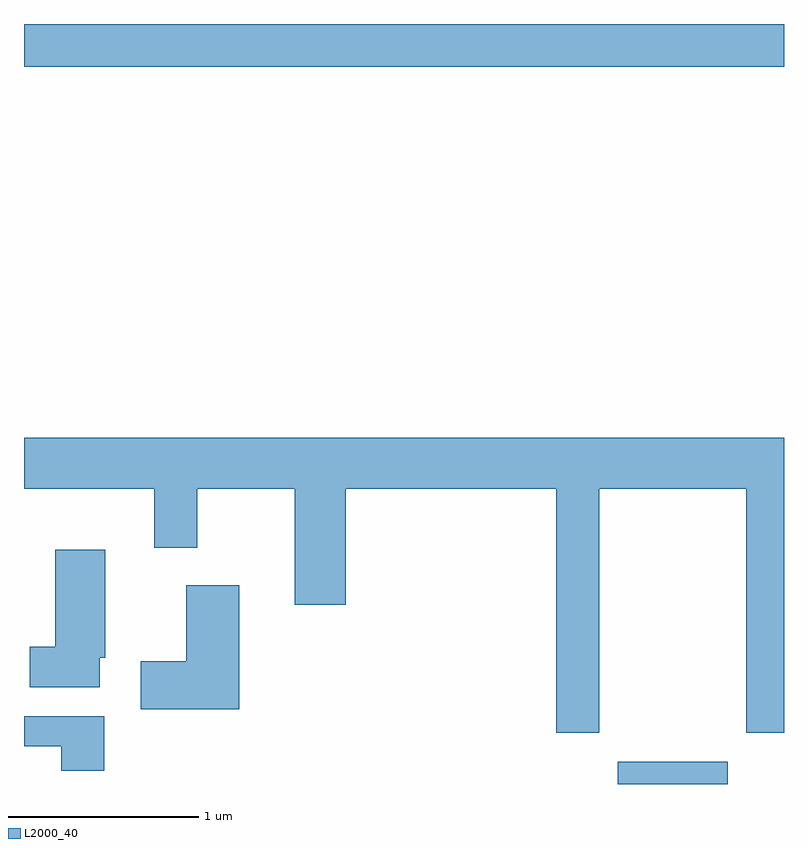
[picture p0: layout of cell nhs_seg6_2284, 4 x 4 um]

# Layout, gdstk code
import gdstk
lib = gdstk.Library(unit=1e-6, precision=1e-09)
def R(c, l, rs):  # rectangles x0, y0, x1, y1
    for r in rs: c.add(gdstk.rectangle(r[:2], r[2:], *l))
def P(c, l, *ps):  # polygons
    for p in ps: c.add(gdstk.Polygon(p, *l))
L2000_40 = (2000, 40)

nhs_seg6_2284 = lib.new_cell('nhs_seg6_2284')
R(nhs_seg6_2284, L2000_40, [(256.736,1646.162,257.314,1646.279), (253.611,1649.936,257.611,1650.162)])
P(nhs_seg6_2284, L2000_40, [(256.639,1647.716),(257.411,1647.716),(257.411,1646.431),(257.611,1646.431),(257.611,1647.984),(253.611,1647.984),(253.611,1647.716),(254.296,1647.716),(254.296,1647.406),(254.524,1647.406),(254.524,1647.716),(255.036,1647.716),(255.036,1647.106),(255.304,1647.106),(255.304,1647.716),(256.411,1647.716),(256.411,1646.431),(256.639,1646.431)],
  [(254.009,1646.826),(254.039,1646.826),(254.039,1647.394),(253.776,1647.394),(253.776,1646.884),(253.641,1646.884),(253.641,1646.671),(254.009,1646.671)],
  [(254.744,1647.209),(254.466,1647.209),(254.466,1646.809),(254.226,1646.809),(254.226,1646.556),(254.744,1646.556)],
  [(254.034,1646.519),(253.611,1646.519),(253.611,1646.361),(253.806,1646.361),(253.806,1646.231),(254.034,1646.231)])

lib.write_gds('nhs_seg6_2284.gds')
